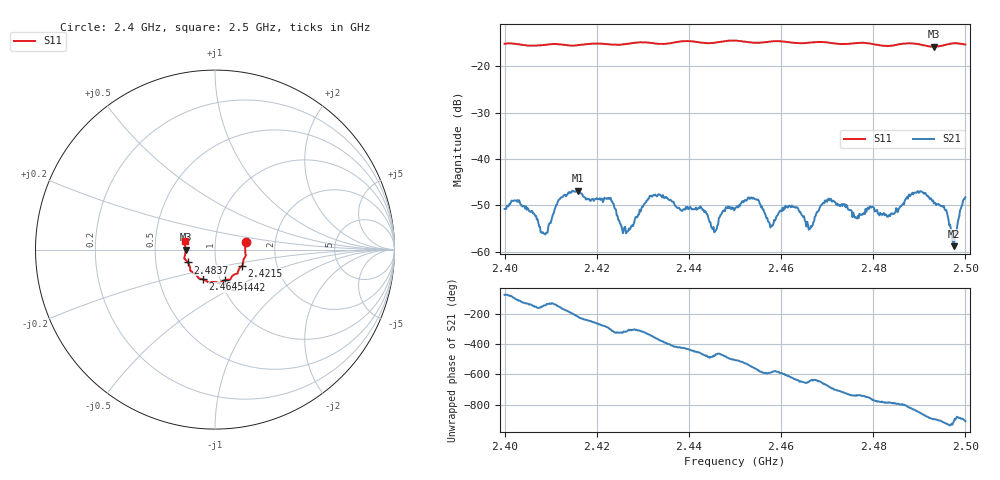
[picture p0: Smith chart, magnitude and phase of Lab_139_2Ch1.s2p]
# Hz S RI R
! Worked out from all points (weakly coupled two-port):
!   601 points, 2.4 GHz to 2.5 GHz, reference 50 ohm
!   highest |S21| = -46.82 dB at 2.4158 GHz (marker M1); lowest = -58.8 dB at 2.4975 GHz (marker M2)
!   lowest |S11| = -15.7 dB at 2.4932 GHz (marker M3), VSWR 1.39, Z = 36 - j0.0631 ohm
!   |S11| at or under -10 dB: start of sweep to end of sweep
!   S12 and S22 are empty: the file has one direction only
!   S11 on the Smith chart (normalised r, x): 2.4 GHz: 1.41, +0.12; 2.4215 GHz: 1.33, -0.25; 2.4442 GHz: 1.05, -0.37; 2.4645 GHz: 0.83, -0.29; 2.4837 GHz: 0.73, -0.11; 2.5 GHz: 0.71, +0.07
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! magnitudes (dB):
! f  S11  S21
! 2.4 GHz  -15.1  -50.8
! 2.4028 GHz  -15.2  -48.9
! 2.4088 GHz  -15.3  -56.3
! 2.412 GHz  -15.2  -48.6
! 2.4158 GHz  -15.4  -46.8
! 2.4167 GHz  -15.3  -47.4
! 2.4215 GHz  -15.1  -48.9
! 2.4268 GHz  -15.1  -55.5
! 2.4333 GHz  -15.1  -47.6
! 2.4442 GHz  -15.0  -52.6
! 2.4455 GHz  -14.9  -55.9
! 2.45 GHz  -14.4  -50.7
! 2.4578 GHz  -14.6  -54.6
! 2.4645 GHz  -15.0  -52.1
! 2.4667 GHz  -14.8  -54.6
! 2.4703 GHz  -14.8  -48.5
! 2.4833 GHz  -15.6  -52.2
! 2.4837 GHz  -15.5  -52.3
! 2.4892 GHz  -15.1  -47.2
! 2.4932 GHz  -15.7  -49.6
! 2.4975 GHz  -15.0  -58.8
! 2.5 GHz  -15.3  -48.2
